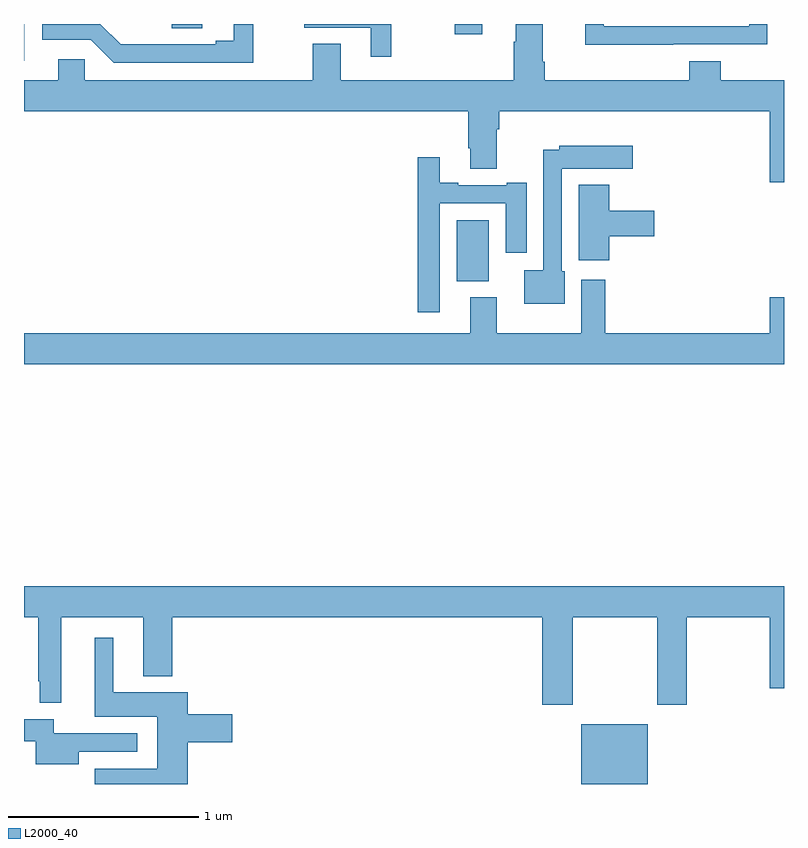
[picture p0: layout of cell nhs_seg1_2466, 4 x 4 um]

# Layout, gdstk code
import gdstk
lib = gdstk.Library(unit=1e-6, precision=1e-09)
def R(c, l, rs):  # rectangles x0, y0, x1, y1
    for r in rs: c.add(gdstk.rectangle(r[:2], r[2:], *l))
def P(c, l, *ps):  # polygons
    for p in ps: c.add(gdstk.Polygon(p, *l))
L2000_40 = (2000, 40)

nhs_seg1_2466 = lib.new_cell('nhs_seg1_2466')
R(nhs_seg1_2466, L2000_40, [(247.934,540.199,248.284,540.514), (247.277,542.846,247.447,543.166), (245,544.005,245.002,544.199), (247.268,544.146,247.411,544.199), (245.778,544.177,245.938,544.199)])
P(nhs_seg1_2466, L2000_40, [(246.934,544.199),(246.475,544.199),(246.475,544.179),(246.824,544.179),(246.824,544.026),(246.934,544.026)],
  [(246.206,544.199),(246.104,544.199),(246.104,544.112),(246.008,544.112),(246.008,544.092),(245.508,544.092),(245.401,544.199),(245.097,544.199),(245.097,544.116),(245.352,544.116),(245.472,543.996),(246.206,543.996)],
  [(248.417,544.092),(248.913,544.092),(248.913,544.199),(248.817,544.199),(248.817,544.188),(248.052,544.188),(248.052,544.199),(247.954,544.199),(247.954,544.091),(248.417,544.091)],
  [(247.337,543.544),(247.349,543.544),(247.349,543.436),(247.489,543.436),(247.489,543.644),(247.502,543.644),(247.502,543.74),(248.924,543.74),(248.924,543.366),(249,543.366),(249,543.904),(248.666,543.904),(248.666,544.003),(248.501,544.003),(248.501,543.904),(247.742,543.904),(247.742,544),(247.729,544),(247.729,544.199),(247.589,544.199),(247.589,544.106),(247.577,544.106),(247.577,543.904),(246.667,543.904),(246.667,544.094),(246.52,544.094),(246.52,543.904),(245.319,543.904),(245.319,544.014),(245.18,544.014),(245.18,543.904),(245,543.904),(245,543.74),(247.337,543.74)],
  [(247.846,542.898),(247.83,542.898),(247.83,543.438),(247.927,543.438),(247.927,543.437),(248.203,543.437),(248.203,543.559),(247.818,543.559),(247.818,543.536),(247.734,543.536),(247.734,542.902),(247.634,542.902),(247.634,542.726),(247.846,542.726)],
  [(247.188,543.255),(247.535,543.255),(247.535,542.994),(247.645,542.994),(247.645,543.364),(247.541,543.364),(247.541,543.351),(247.285,543.351),(247.285,543.364),(247.189,543.364),(247.189,543.499),(247.072,543.499),(247.072,542.682),(247.188,542.682)],
  [(248.081,543.083),(248.317,543.083),(248.317,543.217),(248.081,543.217),(248.081,543.352),(247.919,543.352),(247.919,542.955),(248.081,542.955)],
  [(249,542.761),(248.924,542.761),(248.924,542.572),(248.06,542.572),(248.06,542.854),(247.934,542.854),(247.934,542.572),(247.489,542.572),(247.489,542.761),(247.349,542.761),(247.349,542.572),(245,542.572),(245,542.408),(249,542.408)],
  [(245,541.076),(245.076,541.076),(245.076,540.739),(245.084,540.739),(245.084,540.627),(245.197,540.627),(245.197,541.076),(245.627,541.076),(245.627,540.767),(245.78,540.767),(245.78,541.076),(247.727,541.076),(247.727,540.615),(247.887,540.615),(247.887,541.076),(248.332,541.076),(248.332,540.615),(248.487,540.615),(248.487,541.076),(248.924,541.076),(248.924,540.702),(249,540.702),(249,541.24),(245,541.24)],
  [(245.861,540.419),(246.097,540.419),(246.097,540.566),(245.861,540.566),(245.861,540.682),(245.47,540.682),(245.47,540.97),(245.372,540.97),(245.372,540.554),(245.702,540.554),(245.702,540.279),(245.372,540.279),(245.372,540.199),(245.861,540.199)],
  [(245.287,540.369),(245.596,540.369),(245.596,540.465),(245.157,540.465),(245.157,540.54),(245,540.54),(245,540.424),(245.061,540.424),(245.061,540.302),(245.287,540.302)])

lib.write_gds('nhs_seg1_2466.gds')
